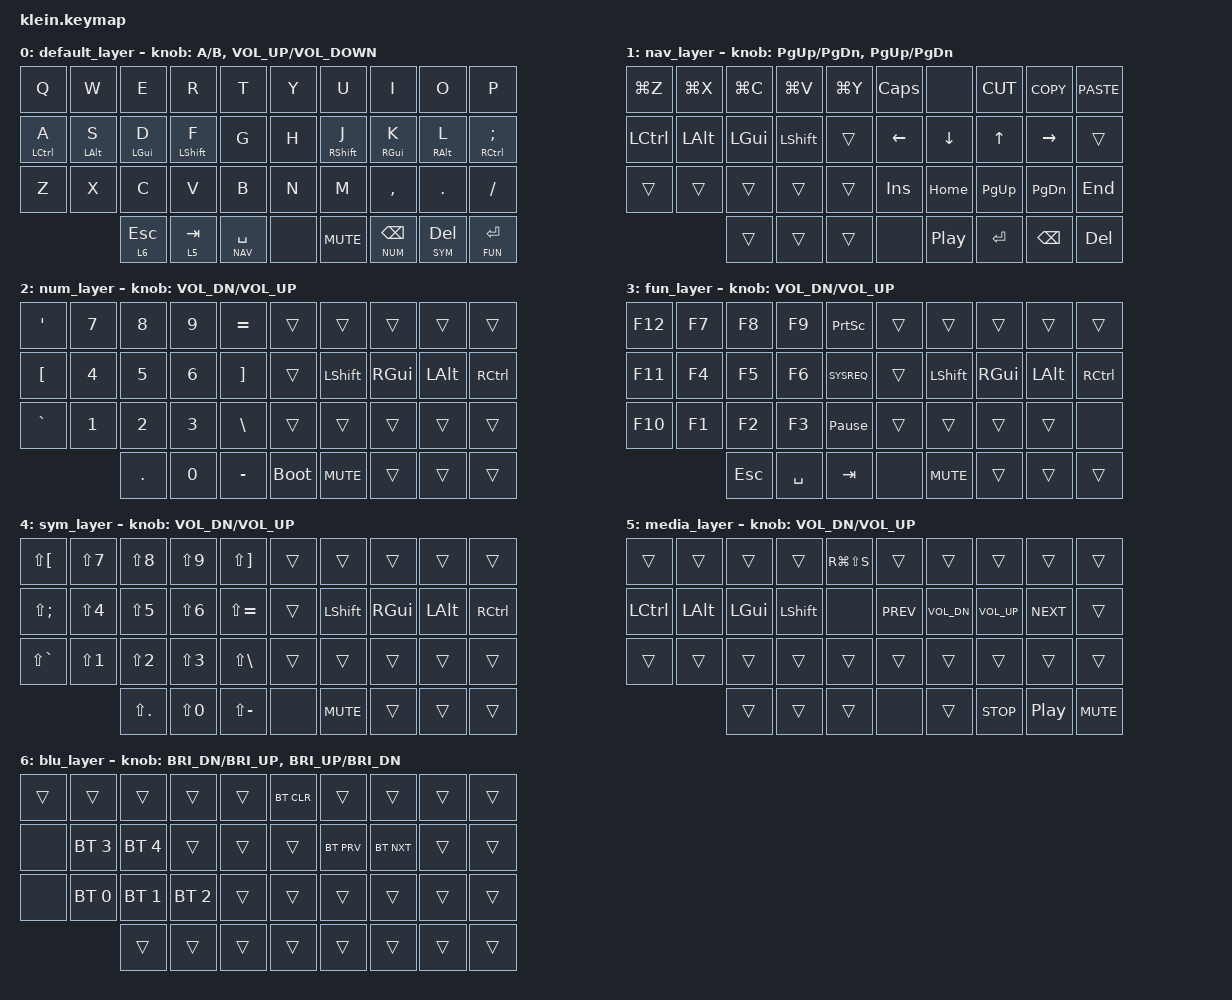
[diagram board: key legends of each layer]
#include <behaviors.dtsi>
#include <dt-bindings/zmk/bt.h>
#include <dt-bindings/zmk/keys.h>

#define BASE 0
#define NAV  1
#define NUM  2
#define FUN  3
#define SYM  4
#define MEDIA  5
#define BLU 6

&mt {
    quick-tap-ms = <100>;
    global-quick-tap;
    flavor = "tap-preferred";
    tapping-term-ms = <180>;
};

/*                KEY POSITIONS

          ╭────────────────────╮ ╭────────────────────╮
          │  0   1   2   3   4 │ │  5   6   7   8   9 │
          │ 10  11  12  13  14 │ │ 15  16  17  18  19 │
          │ 20  21  22  23  24 │ │ 25  26  27  28  29 │
          ╰───  30  31  32 33* │ │ 34* 35  36  37╭────╯
              ╰────────────────╯ ╰───────────────╯        */

/ {
    combos {
        compatible = "zmk,combos";

        cut {
            bindings = <&kp LG(X)>;
            key-positions = <1 31>;
            layers = <0>;
            timeout-ms = <40>;
        };

        copy {
            bindings = <&kp LG(C)>;
            key-positions = <2 31>;
            layers = <0>;
            timeout-ms = <40>;
        };

        paste {
            bindings = <&kp LG(V)>;
            key-positions = <3 31>;
            layers = <0>;
            timeout-ms = <40>;
        };

        leftParet {
            bindings = <&kp LEFT_PARENTHESIS>;
            key-positions = <6 7>;
            layers = <0>;
        };

        rightParet {
            bindings = <&kp RIGHT_PARENTHESIS>;
            key-positions = <7 8>;
            layers = <0>;
        };

        minusCombo {
            bindings = <&kp MINUS>;
            key-positions = <32 35>;
            layers = <0>;
        };

        capslock {
            bindings = <&caps_word>;
            key-positions = <4 5>;
            layers = <0>;
        };

        undo {
            bindings = <&kp LG(Z)>;
            key-positions = <1 2>;
            layers = <0>;
            timeout-ms = <10>;
        };

        redo {
            bindings = <&kp LG(Y)>;
            key-positions = <2 3>;
            layers = <0>;
            timeout-ms = <10>;
        };

        printscreen {
            bindings = <&kp LG(LS(N5))>;
            key-positions = <1 2 3>;
            layers = <0>;
            timeout-ms = <40>;
        };

        apos {
            bindings = <&kp APOS>;
            key-positions = <0 1>;
        };
    };

    behaviors {
        rht: repeatHoldTap {
            compatible = "zmk,behavior-hold-tap";
            label = "REPEATHOLDTAP";
            bindings = <&mo>, <&kp>;

            #binding-cells = <2>;
            flavor = "tap-preferred";
            tapping-term-ms = <150>;
            quick-tap-ms = <200>;
        };
    };

    keymap {
        compatible = "zmk,keymap";

        default_layer {
            //          ------------------------------------------------------------------------------------------------------------
            //          |  Q  |  W  |  E   |  R   |  T   |                                           |  Y   |  U    |  I    |  O   |   P   |
            //          |  A  |  S  |  D   |  F   |  G   |                                           |  H   |  J    |  K    |  L   |   '   |
            //          |  Z  |  X  |  C   |  V   |  B   |                                           |  N   |  M    |  ,    |  .   |   /   |
            //                      | ESC  | SPC |  TAB | BOOTLOADER |                         | MUTE | RET | BKSP | DEL |

            bindings = <
&kp Q               &kp W       &kp E       &kp R        &kp T           &kp Y  &kp U        &kp I          &kp O        &kp P
&mt LEFT_CONTROL A  &mt LALT S  &mt LGUI D  &mt LSHFT F  &kp G           &kp H  &mt RSHFT J  &mt RGUI K     &mt RALT L   &mt RIGHT_CONTROL SEMICOLON
&kp Z               &kp X       &kp C       &kp V        &kp B           &kp N  &kp M        &kp COMMA      &kp DOT      &kp SLASH
                                &lt 6 ESC   &lt 5 TAB    &rht NAV SPACE  &none  &kp K_MUTE   &rht NUM BSPC  &lt SYM DEL  &lt FUN RET
            >;

            sensor-bindings =
                <&inc_dec_kp A B>,
                <&inc_dec_kp C_VOLUME_UP C_VOLUME_DOWN>;
        };

        nav_layer {
            bindings = <
&kp LG(Z)         &kp LG(X)  &kp LG(C)     &kp LG(V)  &kp LG(Y)  &kp CAPSLOCK  &none     &kp K_CUT  &kp K_COPY  &kp K_PASTE
&kp LEFT_CONTROL  &kp LALT   &kp LEFT_GUI  &kp LSHFT  &trans     &kp LEFT      &kp DOWN  &kp UP     &kp RIGHT   &trans
&trans            &trans     &trans        &trans     &trans     &kp INSERT    &kp HOME  &kp PG_UP  &kp PG_DN   &kp END
                             &trans        &trans     &trans     &none         &kp C_PP  &kp RET    &kp BKSP    &kp DEL
            >;

            sensor-bindings =
                <&inc_dec_kp PG_UP PG_DN>,
                <&inc_dec_kp PAGE_UP PAGE_DOWN>;
        };

        num_layer {
            bindings = <
&kp APOSTROPHE    &kp N7  &kp N8      &kp N9  &kp EQUAL          &trans       &trans      &trans         &trans    &trans
&kp LEFT_BRACKET  &kp N4  &kp N5      &kp N6  &kp RIGHT_BRACKET  &trans       &kp LSHFT   &kp RIGHT_GUI  &kp LALT  &kp RIGHT_CONTROL
&kp GRAVE         &kp N1  &kp N2      &kp N3  &kp BSLH           &trans       &trans      &trans         &trans    &trans
                          &kp PERIOD  &kp N0  &kp MINUS          &bootloader  &kp K_MUTE  &trans         &trans    &trans
            >;

            sensor-bindings = <&inc_dec_kp C_VOL_DN C_VOL_UP>;
        };

        fun_layer {
            bindings = <
&kp F12  &kp F7  &kp F8   &kp F9     &kp PSCRN        &trans  &trans      &trans         &trans    &trans
&kp F11  &kp F4  &kp F5   &kp F6     &kp SYSREQ       &trans  &kp LSHFT   &kp RIGHT_GUI  &kp LALT  &kp RIGHT_CONTROL
&kp F10  &kp F1  &kp F2   &kp F3     &kp PAUSE_BREAK  &trans  &trans      &trans         &trans    &none
                 &kp ESC  &kp SPACE  &kp TAB          &none   &kp K_MUTE  &trans         &trans    &trans
            >;

            sensor-bindings = <&inc_dec_kp C_VOL_DN C_VOL_UP>;
        };

        sym_layer {
            bindings = <
&kp LS(LBKT)   &kp LS(N7)  &kp LS(N8)      &kp LS(N9)  &kp LS(RBKT)   &trans  &trans      &trans    &trans    &trans
&kp LS(SEMI)   &kp LS(N4)  &kp LS(N5)      &kp LS(N6)  &kp LS(EQUAL)  &trans  &kp LSHFT   &kp RGUI  &kp LALT  &kp RIGHT_CONTROL
&kp LS(GRAVE)  &kp LS(N1)  &kp LS(N2)      &kp LS(N3)  &kp LS(BSLH)   &trans  &trans      &trans    &trans    &trans
                           &kp LS(PERIOD)  &kp LS(N0)  &kp LS(MINUS)  &none   &kp K_MUTE  &trans    &trans    &trans
            >;

            sensor-bindings = <&inc_dec_kp C_VOL_DN C_VOL_UP>;
        };

        media_layer {
            bindings = <
&trans            &trans    &trans        &trans     &kp RG(LS(S))  &trans      &trans        &trans        &trans            &trans
&kp LEFT_CONTROL  &kp LALT  &kp LEFT_GUI  &kp LSHFT  &none          &kp C_PREV  &kp K_VOL_DN  &kp K_VOL_UP  &kp C_NEXT        &trans
&trans            &trans    &trans        &trans     &trans         &trans      &trans        &trans        &trans            &trans
                            &trans        &trans     &trans         &none       &trans        &kp C_STOP    &kp C_PLAY_PAUSE  &kp K_MUTE
            >;

            sensor-bindings = <&inc_dec_kp C_VOL_DN C_VOL_UP>;
        };

        blu_layer {
            bindings = <
&trans  &trans        &trans        &trans        &trans  &bt BT_CLR  &trans      &trans      &trans  &trans
&none   &bt BT_SEL 3  &bt BT_SEL 4  &trans        &trans  &trans      &bt BT_PRV  &bt BT_NXT  &trans  &trans
&none   &bt BT_SEL 0  &bt BT_SEL 1  &bt BT_SEL 2  &trans  &trans      &trans      &trans      &trans  &trans
                      &trans        &trans        &trans  &trans      &trans      &trans      &trans  &trans
            >;

            sensor-bindings =
                <&inc_dec_kp C_BRI_DN C_BRI_UP>,
                <&inc_dec_kp C_BRI_UP C_BRI_DN>;
        };
    };
};
